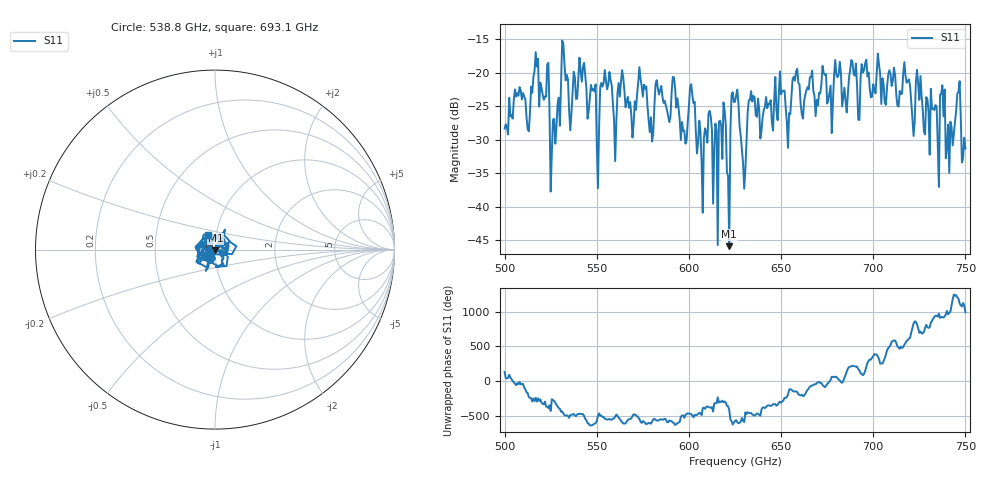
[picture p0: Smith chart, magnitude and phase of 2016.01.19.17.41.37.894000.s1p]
!Created with skrf (http://scikit-rf.org).
# GHz S RI R 50.0
!freq ReS11 ImS11
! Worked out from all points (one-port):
!   401 points, 500 GHz to 750 GHz, reference 50 ohm
!   lowest |S11| = -45.9 dB at 621.9 GHz (marker M1), VSWR 1.01, Z = 50.3 - j0.434 ohm
!   |S11| at or under -10 dB: start of sweep to end of sweep
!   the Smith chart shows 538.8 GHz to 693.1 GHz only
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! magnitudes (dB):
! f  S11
! 500 GHz  -28.3
! 512.5 GHz  -28.4
! 516.9 GHz  -16.9
! 526.2 GHz  -27.0
! 531.2 GHz  -15.2
! 535.6 GHz  -28.6
! 541.9 GHz  -21.3
! 550 GHz  -30.5
! 553.1 GHz  -22.1
! 560 GHz  -33.2
! 562.5 GHz  -23.6
! 570 GHz  -27.7
! 574.4 GHz  -22.0
! 579.4 GHz  -26.7
! 583.1 GHz  -22.3
! 593.8 GHz  -23.8
! 621.9 GHz  -45.9
! 625 GHz  -24.3
! 630 GHz  -37.3
! 633.8 GHz  -22.8
! 656.2 GHz  -21.0
! 687.5 GHz  -19.5
! 718.8 GHz  -21.3
! 734.4 GHz  -25.1
! 737.5 GHz  -21.9
! 740.6 GHz  -27.7
! 746.2 GHz  -22.9
! 750 GHz  -31.3
